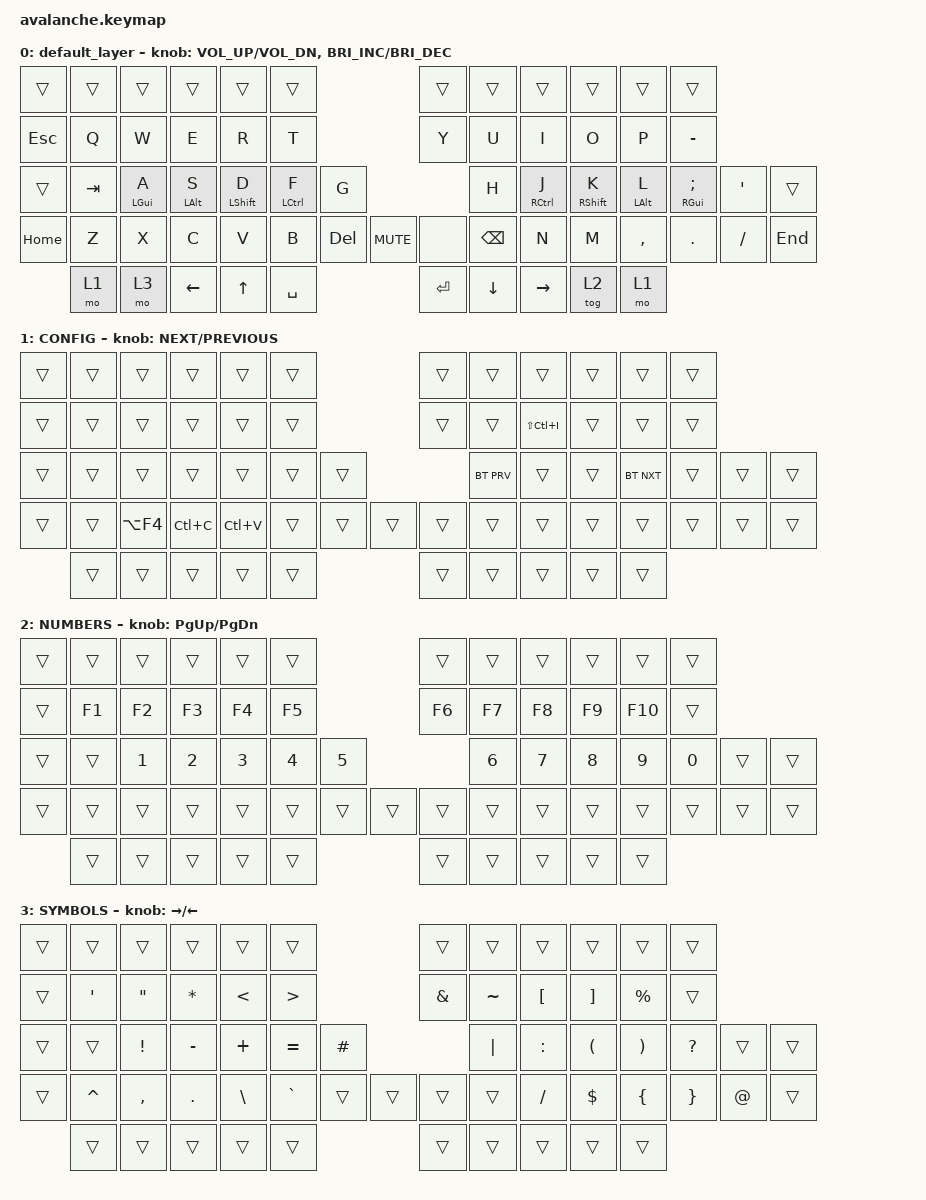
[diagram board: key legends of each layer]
#include <behaviors.dtsi>
#include <dt-bindings/zmk/bt.h>
#include <dt-bindings/zmk/keys.h>

&lt {
    tapping-term-ms = <400>;
    quick-tap-ms = <100>;
};

/ {
    behaviors {
        bhm: balanced_homerow_mods {
            compatible = "zmk,behavior-hold-tap";
            #binding-cells = <2>;
            tapping-term-ms = <200>;

            // <---[[moderate duration]]

            quick-tap-ms = <0>;
            flavor = "balanced";
            bindings = <&kp>, <&kp>;
        };

        hm: homerow_mods {
            compatible = "zmk,behavior-hold-tap";
            #binding-cells = <2>;
            tapping-term-ms = <250>;
            flavor = "tap-preferred";
            bindings = <&kp>, <&kp>;
        };
    };

    macros {
        macro_vim_save: vim_save {
            compatible = "zmk,behavior-macro";
            #binding-cells = <0>;
            wait-ms = <0>;
            tap-ms = <5>;
            bindings = <&kp ESCAPE &kp COLON &kp W &kp ENTER>;
            label = "VIM_SAVE";
        };

        macro_previous_folder: macro_previous_folder {
            compatible = "zmk,behavior-macro";
            #binding-cells = <0>;
            wait-ms = <0>;
            tap-ms = <5>;
            bindings = <&kp DOT &kp DOT &kp FSLH>;
            label = "MACRO_PREVIOUS_FOLDER";
        };

        macro_vim_replace: replace {
            compatible = "zmk,behavior-macro";
            #binding-cells = <0>;
            bindings = <&kp ESC &kp COLON &kp PERCENT &kp S &kp SLASH>;
            label = "REPLACE";
        };

        macro_paste: paste {
            compatible = "zmk,behavior-macro";
            #binding-cells = <0>;
            bindings = <&kp LEFT_GUI &kp V>;
            label = "PASTE";
        };
    };

    keymap {
        compatible = "zmk,keymap";

        default_layer {
            // ---------------------------------------------------------------------------------------------------------------------------------------------
            //            |  `  |  1  |  2  |  3  |  4  |  5  |                                             |  6  |  7  |  8  |  9  |  0  |  '  |
            //            | TAB |  Q  |  W  |  E  |  R  |  T  |                                             |  Y  |  U  |  I  |  O  |  P  |  [  | 
            //    |  ESC  |CTRL |  A  |  S  |  D  |  F  |  G  |                                             |  H  |  J  |  K  |  L  |  ;  |  '  |  \   |
            //            |SHIFT|  Z  |  X  |  C  |  V  |  B  |  DEL  |                              | BSPC |  N  |  M  |  ,  |  .  |  /  |  -  |
            //                        | GUI | ALT |SPACE|RAISE| ENTER |                              | ENTER|  =  |SPACE|MO(1)|MO(2)|
            // ---------------------------------------------------------------------------------------------------------------------------------------------

            bindings = <
&trans    &trans   &trans          &trans      &trans        &trans                               &trans      &trans         &trans       &trans       &trans          &trans
&kp ESC   &kp Q    &kp W           &kp E       &kp R         &kp T                                &kp Y       &kp U          &kp I        &kp O        &kp P           &kp MINUS
&trans    &kp TAB  &hm LEFT_GUI A  &hm LALT S  &hm LSHFT D   &hm LCTRL F  &kp G                               &kp H          &hm RCTRL J  &hm RSHFT K  &hm LEFT_ALT L  &hm RIGHT_GUI SEMI  &kp SINGLE_QUOTE  &trans
&kp HOME  &kp Z    &kp X           &kp C       &kp V         &kp B        &kp DELETE  &kp K_MUTE  &none       &kp BACKSPACE  &kp N        &kp M        &kp COMMA       &kp PERIOD          &kp FSLH          &kp END
          &mo 1    &mo 3           &kp LEFT    &kp UP_ARROW  &kp SPACE                            &kp RETURN  &kp DOWN       &kp RIGHT    &tog 2       &mo 1
            >;

            sensor-bindings =
                <&inc_dec_kp C_VOL_UP C_VOL_DN>,
                <&inc_dec_kp C_BRI_INC C_BRI_DEC>;
        };

        CONFIG {
            bindings = <
&trans  &trans  &trans      &trans     &trans     &trans                  &trans  &trans      &trans         &trans  &trans      &trans
&trans  &trans  &trans      &trans     &trans     &trans                  &trans  &trans      &kp LS(LC(I))  &trans  &trans      &trans
&trans  &trans  &trans      &trans     &trans     &trans  &trans                  &bt BT_PRV  &trans         &trans  &bt BT_NXT  &trans  &trans  &trans
&trans  &trans  &kp LA(F4)  &kp LC(C)  &kp LC(V)  &trans  &trans  &trans  &trans  &trans      &trans         &trans  &trans      &trans  &trans  &trans
        &trans  &trans      &trans     &trans     &trans                  &trans  &trans      &trans         &trans  &trans
            >;

            sensor-bindings = <&inc_dec_kp C_NEXT C_PREVIOUS>;
        };

        NUMBERS {
            // ---------------------------------------------------------------------------------------------------------------------------------------------
            //            |     |     |     |     |     |     |                                          |     |     |     |     |     |     |
            //            |     | HOME|  UP | END |     |     |                                          |     |HOME |     |END  |     |     |
            //       |    |     | LEFT| DOWN|RIGHT|     |     |                                          |SCLUP|LEFT |  UP |  A  |PG_UP|     |    |
            //            |     |     |     |     |     |     |     |                              |     |SCLDN|LEFT | DOWN|RIGHT|PG_DN|     |
            //                        |     |     |     |     |     |                              |     |     |     |     |     |
            // ---------------------------------------------------------------------------------------------------------------------------------------------

            bindings = <
&trans  &trans  &trans  &trans  &trans  &trans                  &trans  &trans  &trans  &trans  &trans   &trans
&trans  &kp F1  &kp F2  &kp F3  &kp F4  &kp F5                  &kp F6  &kp F7  &kp F8  &kp F9  &kp F10  &trans
&trans  &trans  &kp N1  &kp N2  &kp N3  &kp N4  &kp N5                  &kp N6  &kp N7  &kp N8  &kp N9   &kp N0  &trans  &trans
&trans  &trans  &trans  &trans  &trans  &trans  &trans  &trans  &trans  &trans  &trans  &trans  &trans   &trans  &trans  &trans
        &trans  &trans  &trans  &trans  &trans                  &trans  &trans  &trans  &trans  &trans
            >;

            sensor-bindings = <&inc_dec_kp PAGE_UP PAGE_DOWN>;
        };

        SYMBOLS {
            bindings = <
&trans  &trans     &trans             &trans      &trans         &trans                              &trans         &trans     &trans            &trans                &trans                 &trans
&trans  &kp APOS   &kp DOUBLE_QUOTES  &kp ASTRK   &kp LESS_THAN  &kp GREATER_THAN                    &kp AMPERSAND  &kp TILDE  &kp LEFT_BRACKET  &kp RIGHT_BRACKET     &kp PERCENT            &trans
&trans  &trans     &kp EXCLAMATION    &kp MINUS   &kp PLUS       &kp EQUAL         &kp HASH                         &kp PIPE   &kp COLON         &kp LEFT_PARENTHESIS  &kp RIGHT_PARENTHESIS  &kp QUESTION     &trans       &trans
&trans  &kp CARET  &kp COMMA          &kp PERIOD  &kp BACKSLASH  &kp GRAVE         &trans    &trans  &trans         &trans     &kp SLASH         &kp DOLLAR            &kp LEFT_BRACE         &kp RIGHT_BRACE  &kp AT_SIGN  &trans
        &trans     &trans             &trans      &trans         &trans                              &trans         &trans     &trans            &trans                &trans
            >;

            sensor-bindings = <&inc_dec_kp RIGHT LEFT>;
        };
    };
};
